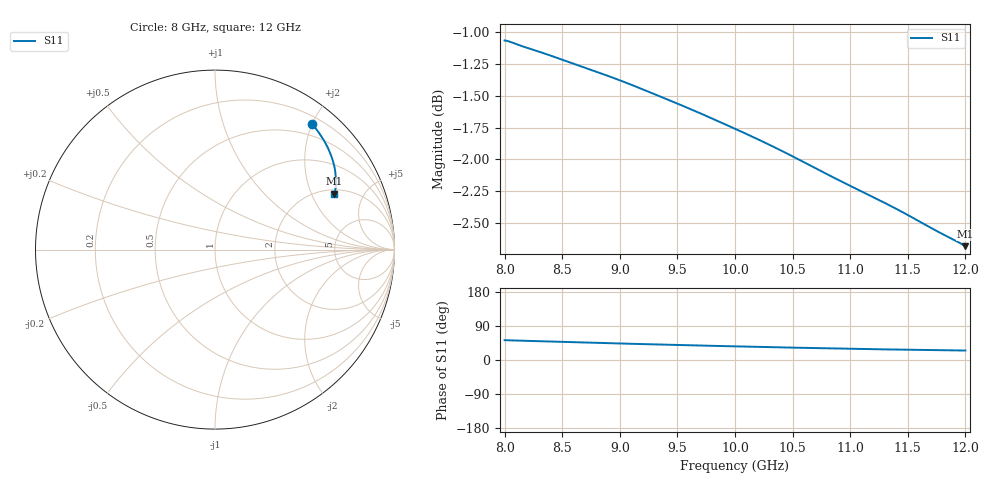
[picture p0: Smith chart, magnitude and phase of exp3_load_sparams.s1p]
! Touchstone file exported from HFSS 2022.1.0
!  File:  C:/Users/Mahdi/Documents/Ansoft/mlab_project1.aedt
!  Generated:  8:53:24 PM  May 14, 2022
!  Design:  HFSSDesign7
!  Project:  mlab_project1
!  Setup:  Setup1
!  Solution:  Sweep
! Variables:
!  a_box = 51.9mm
!  a_fg = 41.9mm
!  a_wg = 22.86mm
!  b_box = 54mm
!  b_fg = 44mm
!  b_wg = 10.16mm
!  f = 10GHz
!  l_box = 160mm
!  l_wg = 150mm
!  la = 0.0299792458meter
!  r_scr = 2.1mm
!  spx_scr = 5mm
!  spy_scr = 5mm
!  t_diaph = 100um
!  t_fg = 1mm
!  w_diaph = 6.18mm
!  w_iris = 10.5mm
# GHz S MA R 50.000000
! Terminal data exported
! Port[1] = 1
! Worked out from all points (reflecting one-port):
!   401 points, 8 GHz to 12 GHz, reference 50 ohm
!   lowest |S11| = -2.7 dB at 12 GHz (marker M1), VSWR 6.53, Z = 110 + j149 ohm
!   phase of S11 starts at 52 deg and turns -27 deg over the sweep
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8  0.8846 52.3
! Gamma 0.0163937168561305 96.0688325626702
! Port Impedance 50 0
8.02  0.8842 52.1
8.04  0.8837 52.0
8.15  0.88 50.9
8.25  0.8771 50.0
8.37  0.8734 49.0
8.5  0.8693 47.8
8.78  0.8604 45.4
8.89  0.8569 44.5
9  0.8532 43.6
9.11  0.8494 42.7
9.23  0.8452 41.7
9.5  0.8354 39.6
9.74  0.8265 37.8
10  0.8166 36.0
10.13  0.8116 35.1
10.25  0.8068 34.3
10.37  0.8019 33.5
10.5  0.7965 32.7
10.8  0.7837 30.8
11  0.7755 29.6
11.12  0.7708 28.9
11.24  0.766 28.3
11.37  0.7608 27.7
11.5  0.7553 27.1
11.78  0.7432 25.9
11.98  0.7352 25.1
12  0.7343 25.0
